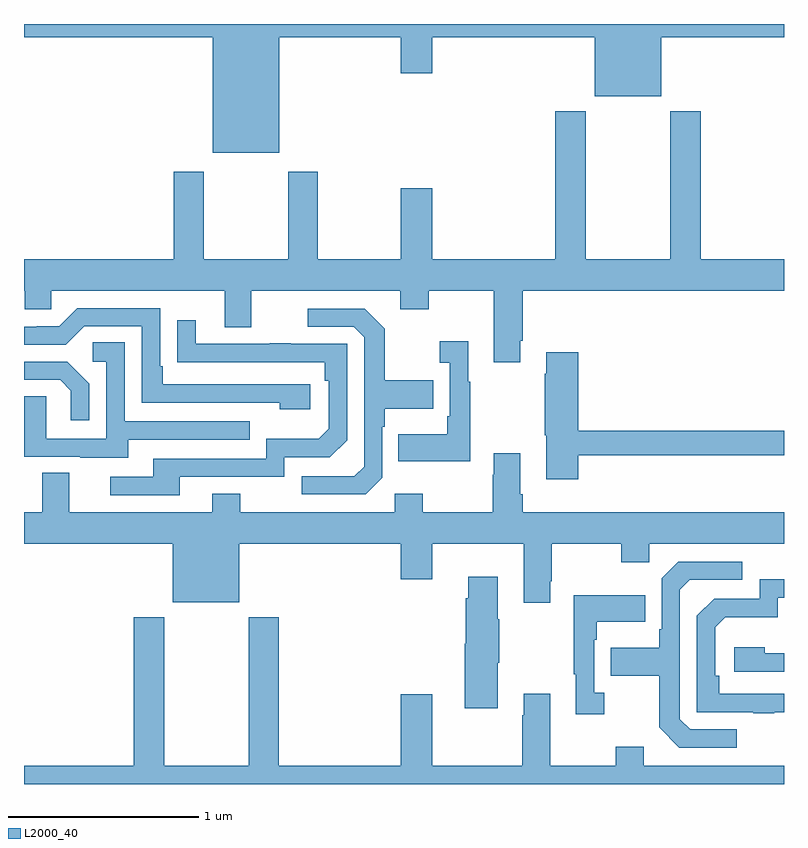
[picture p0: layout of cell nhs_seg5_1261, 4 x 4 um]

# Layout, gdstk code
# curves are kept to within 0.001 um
import gdstk
lib = gdstk.Library(unit=1e-6, precision=1e-09)
def P(c, l, *ps):  # polygons
    for p in ps: c.add(gdstk.Polygon(p, *l))
L2000_40 = (2000, 40)

nhs_seg5_1261 = lib.new_cell('nhs_seg5_1261')
P(nhs_seg5_1261, L2000_40, [(188.344,888.728),(188.984,888.728),(188.984,888.54),(189.148,888.54),(189.148,888.728),(190.004,888.728),(190.004,888.419),(190.354,888.419),(190.354,888.728),(191,888.728),(191,888.799),(187,888.799),(187,888.728),(187.994,888.728),(187.994,888.122),(188.344,888.122)],
  [(189.613,887.131),(189.626,887.131),(189.626,887.396),(191,887.396),(191,887.56),(190.562,887.56),(190.562,888.34),(190.402,888.34),(190.402,887.56),(189.957,887.56),(189.957,888.34),(189.797,888.34),(189.797,887.56),(189.148,887.56),(189.148,887.935),(188.984,887.935),(188.984,887.56),(188.547,887.56),(188.547,888.022),(188.392,888.022),(188.392,887.56),(187.947,887.56),(187.947,888.022),(187.787,888.022),(187.787,887.56),(187,887.56),(187,887.396),(187.005,887.396),(187.005,887.298),(187.143,887.298),(187.143,887.396),(188.057,887.396),(188.057,887.202),(188.197,887.202),(188.197,887.396),(188.981,887.396),(188.981,887.297),(189.129,887.297),(189.129,887.396),(189.473,887.396),(189.473,887.019),(189.613,887.019)],
  [(188.506,886.902),(187.729,886.902),(187.729,886.999),(187.716,886.999),(187.716,887.304),(187.281,887.304),(187.185,887.208),(187.067,887.208),(187.067,887.205),(187,887.205),(187,887.112),(187.221,887.112),(187.317,887.208),(187.62,887.208),(187.62,886.806),(188.345,886.806),(188.345,886.772),(188.506,886.772)],
  [(188.886,886.41),(188.886,886.679),(188.899,886.679),(188.899,886.775),(189.155,886.775),(189.155,886.923),(188.899,886.923),(188.899,887.195),(188.793,887.301),(188.493,887.301),(188.493,887.205),(188.736,887.205),(188.79,887.151),(188.79,886.47),(188.739,886.419),(188.463,886.419),(188.463,886.323),(188.799,886.323)],
  [(187.819,886.416),(188.37,886.416),(188.37,886.518),(188.61,886.518),(188.7,886.608),(188.7,887.115),(188.405,887.115),(188.405,887.12),(188.293,887.12),(188.293,887.115),(187.903,887.115),(187.903,887.239),(187.807,887.239),(187.807,887.02),(188.584,887.019),(188.584,886.922),(188.604,886.922),(188.604,886.668),(188.551,886.615),(188.274,886.615),(188.274,886.512),(187.679,886.512),(187.679,886.416),(187.455,886.416),(187.455,886.32),(187.819,886.32)],
  [(189.349,886.915),(189.337,886.915),(189.337,887.128),(189.189,887.128),(189.189,887.015),(189.24,887.015),(189.24,886.735),(189.228,886.735),(189.228,886.639),(188.971,886.639),(188.971,886.499),(189.349,886.499)],
  [(187.549,886.611),(188.189,886.611),(188.189,886.707),(187.53,886.707),(187.53,887.123),(187.362,887.123),(187.362,887.022),(187.434,887.022),(187.434,886.617),(187.116,886.617),(187.116,886.841),(187,886.841),(187,886.521),(187.295,886.521),(187.295,886.517),(187.549,886.517)],
  [(189.917,886.53),(191,886.53),(191,886.658),(189.917,886.658),(189.917,887.071),(189.749,887.071),(189.749,886.958),(189.742,886.958),(189.742,886.635),(189.749,886.635),(189.749,886.404),(189.917,886.404)],
  [(187.344,886.906),(187.228,887.022),(187,887.022),(187,886.926),(187.19,886.926),(187.247,886.869),(187.247,886.713),(187.344,886.713)],
  [(189.769,885.865),(189.777,885.865),(189.777,886.064),(190.144,886.064),(190.144,885.965),(190.29,885.965),(190.29,886.064),(191,886.064),(191,886.228),(189.626,886.228),(189.626,886.324),(189.613,886.324),(189.613,886.54),(189.473,886.54),(189.473,886.427),(189.466,886.427),(189.466,886.228),(189.099,886.228),(189.099,886.327),(188.952,886.327),(188.952,886.228),(188.139,886.228),(188.139,886.327),(187.991,886.327),(187.991,886.228),(187.237,886.228),(187.237,886.436),(187.097,886.436),(187.097,886.228),(187,886.228),(187,886.064),(187.784,886.064),(187.784,885.755),(188.134,885.755),(188.134,886.064),(188.984,886.064),(188.984,885.876),(189.148,885.876),(189.148,886.064),(189.629,886.064),(189.629,885.753),(189.769,885.753)],
  [(190.75,885.087),(190.506,885.087),(190.452,885.141),(190.452,885.822),(190.503,885.873),(190.78,885.873),(190.78,885.969),(190.443,885.969),(190.356,885.882),(190.356,885.613),(190.344,885.613),(190.344,885.517),(190.087,885.517),(190.087,885.37),(190.344,885.37),(190.344,885.097),(190.449,884.991),(190.75,884.991)],
  [(189.493,885.437),(189.501,885.437),(189.501,885.665),(189.493,885.665),(189.493,885.889),(189.338,885.889),(189.338,885.776),(189.326,885.776),(189.326,885.537),(189.32,885.537),(189.32,885.197),(189.493,885.197)],
  [(190.949,885.177),(191,885.177),(191,885.273),(190.658,885.273),(190.658,885.37),(190.638,885.37),(190.638,885.624),(190.691,885.677),(190.968,885.677),(190.968,885.78),(191,885.78),(191,885.876),(190.872,885.876),(190.872,885.774),(190.632,885.774),(190.542,885.684),(190.542,885.177),(190.837,885.177),(190.837,885.172),(190.949,885.172)],
  [(190.054,885.278),(190.002,885.278),(190.002,885.557),(190.015,885.557),(190.015,885.653),(190.271,885.653),(190.271,885.793),(189.894,885.793),(189.894,885.377),(189.905,885.377),(189.905,885.165),(190.054,885.165)],
  [(191,884.896),(190.261,884.896),(190.261,884.995),(190.114,884.995),(190.114,884.896),(189.769,884.896),(189.769,885.274),(189.629,885.274),(189.629,885.161),(189.622,885.161),(189.622,884.896),(189.148,884.896),(189.148,885.271),(188.984,885.271),(188.984,884.896),(188.342,884.896),(188.342,885.676),(188.182,885.676),(188.182,884.896),(187.737,884.896),(187.737,885.676),(187.577,885.676),(187.577,884.896),(187,884.896),(187,884.799),(191,884.799)],
  [(191,885.486),(190.898,885.486),(190.898,885.52),(190.737,885.52),(190.737,885.39),(191,885.39)])

lib.write_gds('nhs_seg5_1261.gds')
